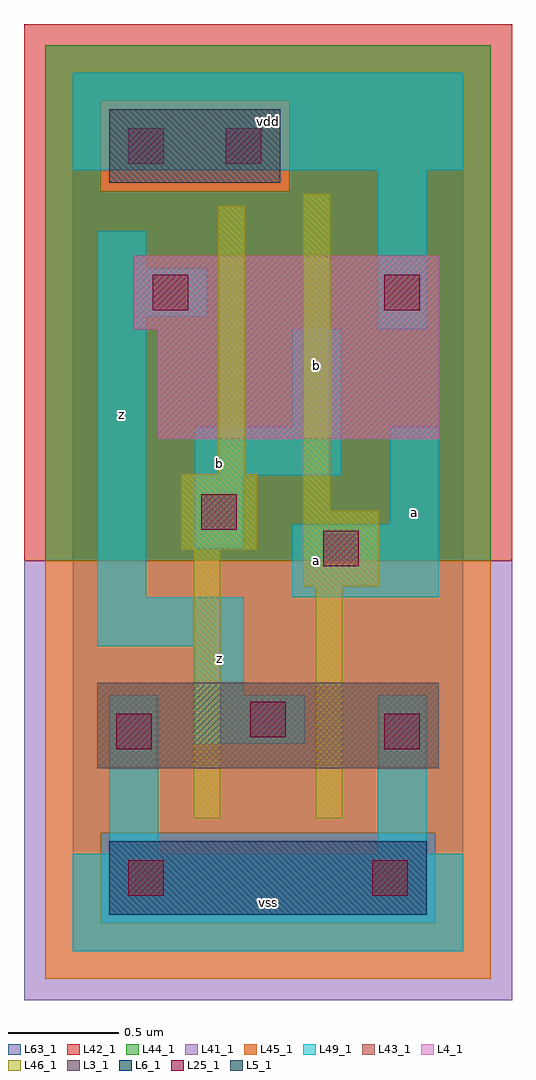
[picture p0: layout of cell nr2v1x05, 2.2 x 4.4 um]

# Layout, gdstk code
import gdstk
lib = gdstk.Library(unit=1e-6, precision=1e-09)
def R(c, l, rs):  # rectangles x0, y0, x1, y1
    for r in rs: c.add(gdstk.rectangle(r[:2], r[2:], *l))
L3_1 = (3, 1)
L4_1 = (4, 1)
L5_1 = (5, 1)
L6_1 = (6, 1)
L25_1 = (25, 1)
L41_1 = (41, 1)
L42_1 = (42, 1)
L43_1 = (43, 1)
L44_1 = (44, 1)
L45_1 = (45, 1)
L46_1 = (46, 1)
L49_1 = (49, 1)
L63_1 = (63, 1)

nr2v1x05 = lib.new_cell('nr2v1x05')
R(nr2v1x05, L3_1, [(0.11,0.825,1.65,1.21)])
R(nr2v1x05, L4_1, [(0.385,2.31,1.65,2.805), (0.275,2.805,1.65,3.135)])
R(nr2v1x05, L5_1, [(0.165,3.465,0.935,3.795)])
R(nr2v1x05, L6_1, [(0.165,0.165,1.595,0.495)])
R(nr2v1x05, L25_1, [(0.25,0.25,0.41,0.41), (1.35,0.25,1.51,0.41), (0.195,0.91,0.355,1.07), (1.405,0.91,1.565,1.07), (0.8,0.965,0.96,1.125), (1.13,1.735,1.29,1.895), (0.58,1.9,0.74,2.06), (0.36,2.89,0.52,3.05), (1.405,2.89,1.565,3.05), (0.25,3.55,0.41,3.71), (0.69,3.55,0.85,3.71)])
R(nr2v1x05, L41_1, [(-0.22,-0.22,1.98,1.76)])
R(nr2v1x05, L42_1, [(-0.22,1.76,1.98,4.18)])
R(nr2v1x05, L43_1, [(0.165,0.165,1.595,0.495), (0.11,0.825,1.65,1.21), (0.385,2.31,1.65,2.805), (0.275,2.805,1.65,3.135), (0.165,3.465,0.935,3.795)])
R(nr2v1x05, L44_1, [(0.125,0.125,1.635,0.535), (-0.125,1.76,1.885,3.425), (-0.125,3.425,0.125,3.835), (0.975,3.425,1.885,3.835), (-0.125,3.835,1.885,4.085)])
R(nr2v1x05, L45_1, [(-0.125,-0.125,1.885,0.125), (-0.125,0.125,0.125,0.535), (1.635,0.125,1.885,0.535), (-0.125,0.535,1.885,1.76), (0.125,3.425,0.975,3.835)])
R(nr2v1x05, L46_1, [(0.545,0.6,0.665,1.81), (1.095,0.6,1.215,1.645), (1.04,1.645,1.38,1.985), (0.49,1.81,0.83,2.15), (1.04,1.985,1.16,3.415), (0.655,2.15,0.775,3.36)])
R(nr2v1x05, L49_1, [(0,0,1.76,0.44), (0.165,0.44,0.385,1.155), (1.375,0.44,1.595,1.155), (0.55,0.935,1.045,1.155), (0.55,1.155,0.77,1.375), (0.11,1.375,0.77,1.595), (0.11,1.595,0.33,2.86), (0.99,1.595,1.65,1.925), (0.55,1.815,0.77,2.145), (1.43,1.925,1.65,2.365), (0.55,2.145,1.21,2.365), (0.99,2.365,1.21,2.805), (1.375,2.805,1.595,3.52), (0.11,2.86,0.605,3.08), (0.11,3.08,0.33,3.245), (0,3.52,1.76,3.96)])
R(nr2v1x05, L63_1, [(0,0,1.76,3.96)])
nr2v1x05.add(gdstk.Label('z', (0.22,2.42), layer=49, texttype=1))
nr2v1x05.add(gdstk.Label('z', (0.66,1.32), layer=49, texttype=1))
nr2v1x05.add(gdstk.Label('b', (0.66,2.2), layer=49, texttype=1))
nr2v1x05.add(gdstk.Label('vss', (0.88,0.22), layer=49, texttype=1))
nr2v1x05.add(gdstk.Label('a', (1.1,1.76), layer=49, texttype=1))
nr2v1x05.add(gdstk.Label('b', (1.1,2.64), layer=49, texttype=1))
nr2v1x05.add(gdstk.Label('vdd', (0.88,3.74), layer=49, texttype=1))
nr2v1x05.add(gdstk.Label('a', (1.54,1.98), layer=49, texttype=1))

lib.write_gds('nr2v1x05.gds')
